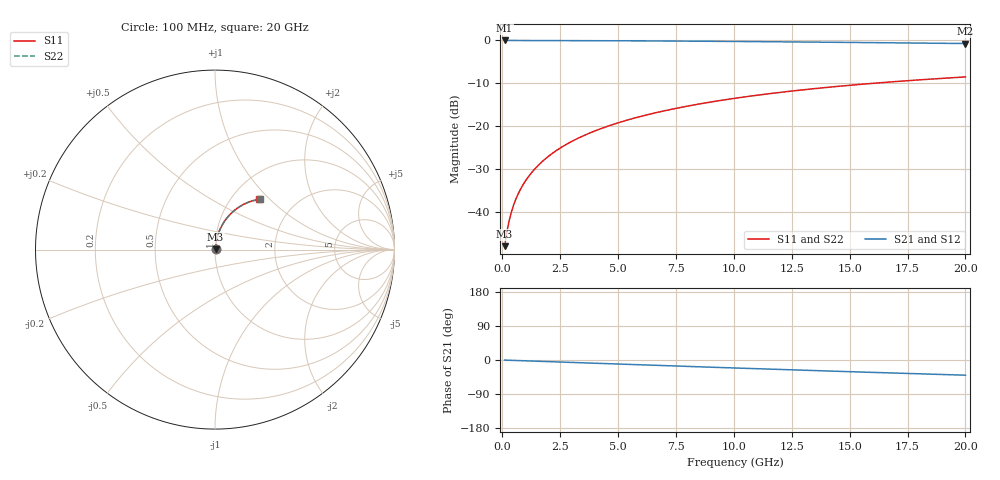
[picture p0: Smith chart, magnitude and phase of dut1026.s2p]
! Touchstone file exported from HFSS 2026.1.0
!  File:  C:/ffzhzh/LocalFiles/Ansys_Project_Files/temp_train_TMRDL_1026_1783159952_51560.aedt
!  Generated:  06:13:46 PM Jul  4, 2026
!  Design:  TMRDL
!  Project:  temp_train_TMRDL_1026_1783159952_51560
! Variables:
!  h_bsmrdl = 2um
!  h_ox = 20um
!  h_rdl = 5um
!  h_sub = 80um
!  h_tmrdl = 2.59um
!  h_tsv = 80um
!  h_via = 3um
!  l_bsmrdl = 300um
!  l_sub = 961.05um
!  l_tmrdl = 561.05um
!  m_sub = 200um
!  pitch = 57.21um
!  r_tsv = 6um
!  s_tmrdl = 10um
!  w_bsmrdl = 18um
!  w_sub = 500um
!  w_tmrdl = 27.33um
!  x_tsv_center1 = 574.715um
!  x_tsv_center2 = 892.715um
!  x_tsv_center3 = 1481.095um
!  x_tsv_center4 = 1799.095um
!  x_tsv_center5 = 2387.475um
!  x_tsv_center6 = 2705.475um
# GHz S MA R 50.000000
! Terminal data exported
! Port[1] = TM_RDL1_1_T1
! Port[2] = TM_RDL1_1_T2
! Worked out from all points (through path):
!   200 points, 100 MHz to 20 GHz, reference 50 ohm
!   highest |S21| = -0.03 dB at 100 MHz (marker M1); lowest = -0.7 dB at 20 GHz (marker M2)
!   group delay of S21, straight-line fit = 5.58 ps
!   lowest |S11| = -48.0 dB at 100 MHz (marker M3), VSWR 1.01, Z = 50.3 + j0.245 ohm
!   |S11| at or under -10 dB: start of sweep to 16.07 GHz
!   |S22| runs from -48.0 to -8.5 dB; largest |S21 - S12| = 3.5e-15
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0.1  0.003967 37.9  0.9969 -0.2  0.9969 -0.2  0.003967 37.9
! Gamma 0 0 0 0
! Port Impedance 50 0 50 0
0.2  0.005832 55.7  0.9967 -0.5  0.9967 -0.5  0.005832 55.7
0.3  0.007935 63.9  0.9966 -0.7  0.9966 -0.7  0.007935 63.9
0.4  0.01008 68.4  0.9964 -0.9  0.9964 -0.9  0.01008 68.4
0.5  0.01221 71.2  0.9962 -1.1  0.9962 -1.1  0.01221 71.2
0.6  0.01434 73.2  0.9961 -1.3  0.9961 -1.3  0.01434 73.2
0.8  0.01861 75.9  0.9959 -1.7  0.9959 -1.7  0.01861 75.9
1.1  0.02503 78.1  0.9956 -2.4  0.9956 -2.4  0.02503 78.1
1.3  0.02934 79.0  0.9954 -2.8  0.9954 -2.8  0.02934 79.0
1.6  0.03583 79.7  0.9951 -3.5  0.9951 -3.5  0.03583 79.7
2.1  0.04667 80.1  0.9945 -4.5  0.9945 -4.5  0.04667 80.1
2.7  0.05968 79.9  0.9937 -5.8  0.9937 -5.8  0.05968 79.9
3.5  0.07697 79.0  0.9924 -7.5  0.9924 -7.5  0.07697 79.0
4.2  0.09199 78.0  0.9909 -9.0  0.9909 -9.0  0.09199 78.0
5  0.109 76.7  0.9889 -10.7  0.9889 -10.7  0.109 76.6
5.9  0.1279 75.0  0.9864 -12.6  0.9864 -12.6  0.1279 75.0
6.8  0.1465 73.3  0.9835 -14.5  0.9835 -14.5  0.1465 73.3
8.3  0.1768 70.5  0.978 -17.6  0.978 -17.6  0.1768 70.4
10.1  0.2119 67.0  0.9704 -21.2  0.9704 -21.2  0.2119 66.9
13.4  0.2719 60.6  0.9544 -27.8  0.9544 -27.8  0.2719 60.5
16.7  0.326 54.5  0.9366 -34.1  0.9366 -34.1  0.3261 54.3
20  0.3741 48.6  0.918 -40.1  0.918 -40.1  0.3741 48.4
